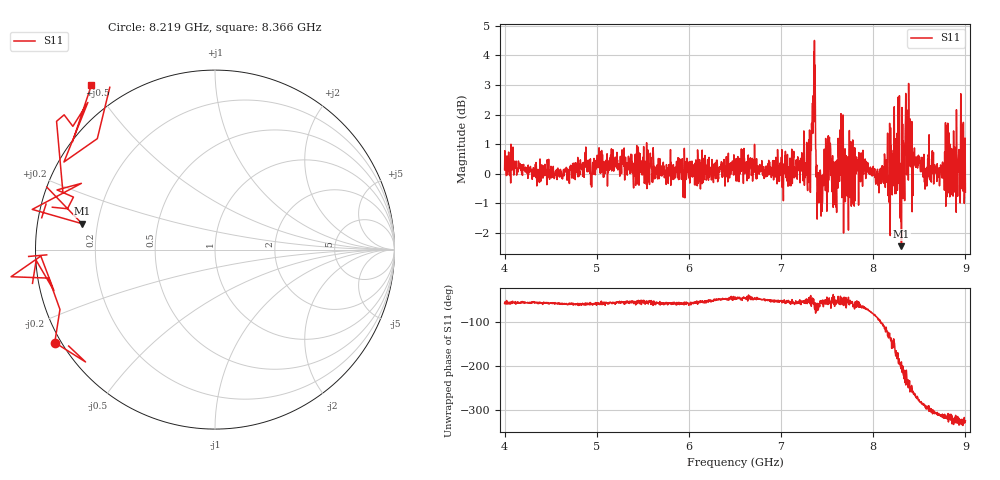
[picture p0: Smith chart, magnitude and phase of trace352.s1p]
! Created with skrf 1.8.0 (http://scikit-rf.org).
# Hz S RI R 50.0
!freq ReS11 ImS11
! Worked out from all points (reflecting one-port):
!   1601 points, 4 GHz to 9 GHz, reference 50 ohm
!   lowest |S11| = -2.4 dB at 8.306 GHz (marker M1), VSWR 7.16, Z = 7.05 + j4.73 ohm
!   phase of S11 starts at -59 deg and turns -266 deg over the sweep
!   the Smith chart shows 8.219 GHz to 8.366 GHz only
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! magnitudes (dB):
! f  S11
! 4 GHz  0.1
! 4.625 GHz  -0.1
! 5.25 GHz  -0.1
! 5.875 GHz  0.1
! 6.5 GHz  0.2
! 7.125 GHz  0.1
! 7.294 GHz  -0.3
! 7.328 GHz  0.8
! 7.347 GHz  2.6
! 7.362 GHz  4.5
! 7.397 GHz  -0.7
! 7.412 GHz  -0.6
! 7.509 GHz  -0.1
! 7.591 GHz  0.4
! 7.65 GHz  2.0
! 7.703 GHz  0.0
! 7.75 GHz  0.1
! 8.075 GHz  0.2
! 8.228 GHz  2.3
! 8.253 GHz  0.3
! 8.306 GHz  -2.4
! 8.316 GHz  0.5
! 8.334 GHz  0.7
! 8.375 GHz  0.8
! 8.447 GHz  0.9
! 8.841 GHz  0.2
! 8.953 GHz  -0.5
! 9 GHz  -0.6
